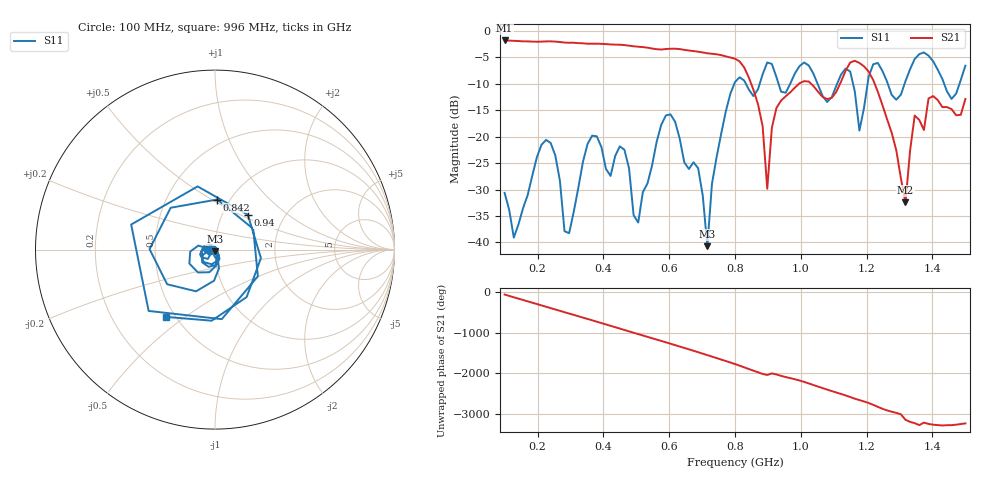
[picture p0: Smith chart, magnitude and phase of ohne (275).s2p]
! NanoVNA-App
! Date: 2025-09-25 14:22:56
! Start: 100MHz Stop: 1,5GHz Points: 101
! S-Parameter data: F S11 S21 S12 S22
# Hz S RI R 50
!  Frequency  S11_Real  S11_Imag  S21_Real  S21_Imag  S12_Real  S12_Imag  S22_Real  S22_Imag
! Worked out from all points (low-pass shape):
!   101 points, 100 MHz to 1.5 GHz, reference 50 ohm
!   highest |S21| = -1.79 dB at 100 MHz (marker M1); lowest = -32.4 dB at 1.318 GHz (marker M2)
!   |S21| within 3 dB of the highest: start of sweep to 771.2 MHz
!   lowest |S11| = -40.7 dB at 716 MHz (marker M3), VSWR 1.02, Z = 49.9 - j0.91 ohm
!   |S11| at or under -10 dB: start of sweep to 797.8 MHz; 833.1 MHz to 875 MHz (41.9 MHz wide, 4.91 % of centre); 1.051 GHz to 1.11 GHz (59.31 MHz wide, 5.49 % of centre) (the widest 3 of 7)
!   S12 and S22 are empty: the file has one direction only
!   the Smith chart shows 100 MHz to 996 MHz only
!   S11 on the Smith chart (normalised r, x): 100 MHz: 0.94, -0.01; 842 MHz: 0.88, +0.53; 940 MHz: 1.32, +0.55; 996 MHz: 0.44, -0.42
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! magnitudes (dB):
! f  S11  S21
! 100 MHz  -30.6  -1.8
! 128 MHz  -39.1  -1.9
! 226 MHz  -20.6  -2.0
! 296 MHz  -38.3  -2.2
! 338 MHz  -24.8  -2.3
! 464 MHz  -22.5  -2.7
! 506 MHz  -36.2  -3.0
! 576 MHz  -17.7  -3.5
! 688 MHz  -26.0  -3.9
! 716 MHz  -40.7  -4.2
! 800 MHz  -9.7  -5.2
! 842 MHz  -11.1  -8.8
! 898 MHz  -6.0  -29.8
! 940 MHz  -11.5  -13.2
! 996 MHz  -6.6  -9.9
! 1.038 GHz  -8.0  -10.4
! 1.178 GHz  -18.8  -6.1
! 1.22 GHz  -6.3  -9.3
! 1.276 GHz  -12.1  -19.2
! 1.318 GHz  -9.5  -32.4
! 1.346 GHz  -5.3  -16.0
! 1.5 GHz  -6.6  -12.9
